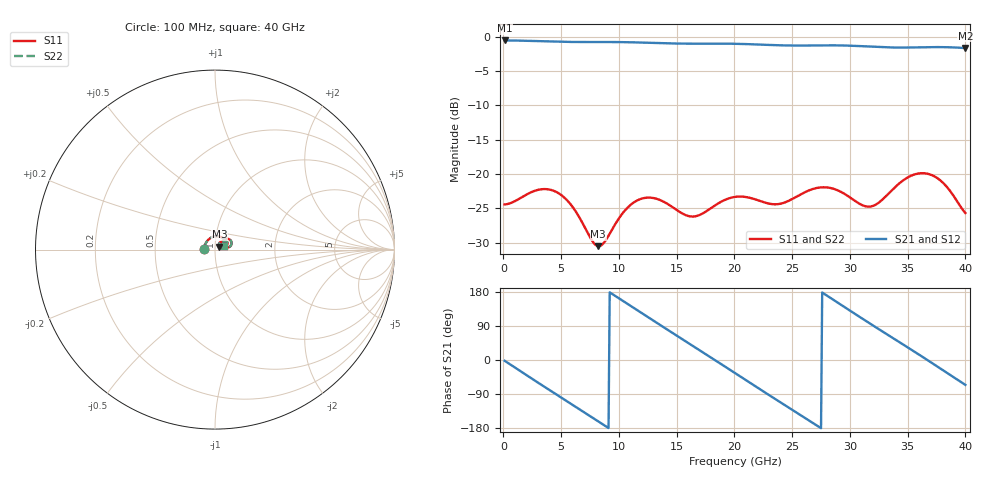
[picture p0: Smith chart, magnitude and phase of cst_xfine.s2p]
! thru_s8_L3: 2×thru, L3, 8 mm
! stackup: 8-layer 1.6 mm FR-4 (generic)
! ports: 1, 2
! CST Studio Suite 2025.5 Release from 2025-05-30, time domain (FIT, hexahedral, PBA), 467109 mesh cells, 75 s
! mesh: {'lpw': 40.0, 'lpb': 40.0, 'minstep': 0.0, 'ratio': 20}; ports: port 1 (face); port 2 (face)
! interpolated from CST's 1001 samples to the case grid
# Hz S RI R 50
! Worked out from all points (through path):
!   400 points, 100 MHz to 40 GHz, reference 50 ohm
!   highest |S21| = -0.53 dB at 100 MHz (marker M1); lowest = -1.6 dB at 40 GHz (marker M2)
!   group delay of S21, straight-line fit = 54.5 ps
!   lowest |S11| = -30.5 dB at 8.2 GHz (marker M3), VSWR 1.06, Z = 52.5 + j1.7 ohm
!   |S11| at or under -10 dB: start of sweep to end of sweep
!   |S22| runs from -30.5 to -19.9 dB; largest |S21 - S12| = 7.6e-07
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1e8  -0.0597 0.00439  0.9399 -0.033  0.9399 -0.033  -0.0597 0.00439
1.7e9  -0.0279 0.0625  0.7758 -0.5246  0.7758 -0.5246  -0.0279 0.0625
3.6e9  0.0378 0.0677  0.2904 -0.8796  0.2904 -0.8796  0.0378 0.0677
5.2e9  0.0596 0.0329  -0.2076 -0.8952  -0.2076 -0.8952  0.0596 0.0329
6.8e9  0.0435 0.00982  -0.6396 -0.6559  -0.6396 -0.6559  0.0435 0.00982
8.2e9  0.025 0.0161  -0.8701 -0.2871  -0.8701 -0.2871  0.025 0.0161
1.05e10  0.0319 0.0435  -0.8128 0.4181  -0.8128 0.4181  0.0319 0.0435
1.34e10  0.0572 0.0315  -0.0882 0.8956  -0.0882 0.8956  0.0572 0.0315
1.51e10  0.0493 0.0219  0.4115 0.7922  0.4115 0.7922  0.0493 0.0219
1.71e10  0.0402 0.031  0.8162 0.3574  0.8162 0.3574  0.0402 0.031
1.86e10  0.0461 0.04  0.8871 -0.0905  0.8871 -0.0905  0.0461 0.04
2.01e10  0.0557 0.0391  0.7236 -0.5168  0.7236 -0.5168  0.0557 0.0391
2.17e10  0.0574 0.0319  0.3419 -0.8118  0.3419 -0.8118  0.0574 0.0319
2.32e10  0.0516 0.0313  -0.0982 -0.8654  -0.0982 -0.8654  0.0516 0.0313
2.48e10  0.0504 0.0399  -0.5248 -0.6865  -0.5248 -0.6865  0.0504 0.0399
2.67e10  0.0628 0.045  -0.832 -0.2349  -0.832 -0.2349  0.0628 0.045
2.85e10  0.0706 0.0339  -0.8155 0.2925  -0.8155 0.2925  0.0706 0.0339
3.05e10  0.0582 0.0245  -0.4357 0.7395  -0.4357 0.7395  0.0582 0.0245
3.34e10  0.0507 0.0521  0.3658 0.7526  0.3658 0.7526  0.0507 0.0521
3.52e10  0.076 0.059  0.7272 0.4115  0.7272 0.4115  0.076 0.059
3.68e10  0.0922 0.0386  0.8401 -0.0269  0.8401 -0.0269  0.0922 0.0386
4e10  0.0488 0.0174  0.3405 -0.7542  0.3405 -0.7542  0.0488 0.0174
